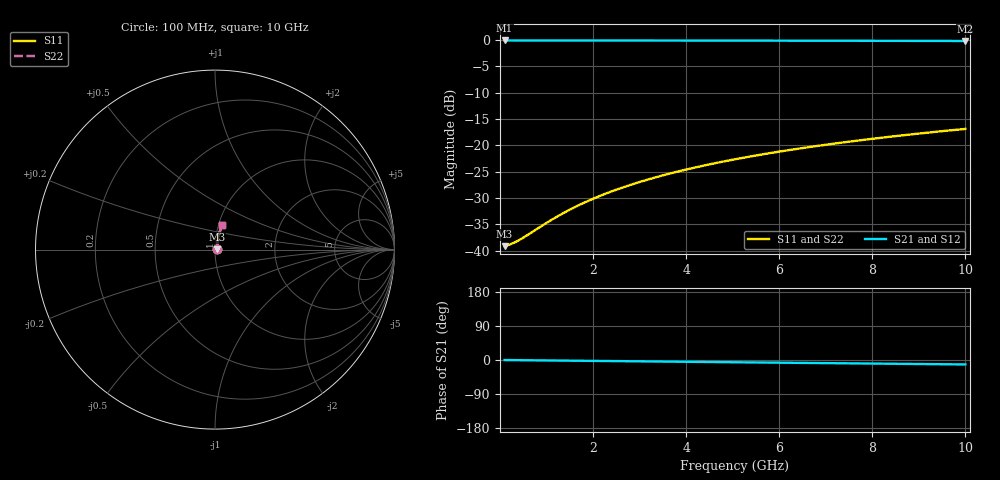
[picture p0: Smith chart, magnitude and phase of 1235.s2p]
# Hz S RI R 50.00
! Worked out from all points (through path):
!   100 points, 100 MHz to 10 GHz, reference 50 ohm
!   highest |S21| = -0.10 dB at 100 MHz (marker M1); lowest = -0.2 dB at 10 GHz (marker M2)
!   group delay of S21, straight-line fit = 3.26 ps
!   lowest |S11| = -39.2 dB at 100 MHz (marker M3), VSWR 1.02, Z = 51.1 + j0.145 ohm
!   |S11| at or under -10 dB: start of sweep to end of sweep
!   |S22| runs from -39.2 to -16.9 dB; largest |S21 - S12| = 0
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1e8  0.0109 0.00142  0.9891 -0.00204  0.9891 -0.00204  0.0109 0.00142
2e8  0.011 0.00285  0.989 -0.00407  0.989 -0.00407  0.011 0.00285
3e8  0.0111 0.00427  0.9889 -0.00611  0.9889 -0.00611  0.0111 0.00427
4e8  0.0111 0.00569  0.9889 -0.00814  0.9889 -0.00814  0.0111 0.00569
5e8  0.0112 0.00711  0.9888 -0.0102  0.9888 -0.0102  0.0112 0.00711
1e9  0.0116 0.0142  0.9884 -0.0203  0.9884 -0.0203  0.0116 0.0142
1.2e9  0.0117 0.0171  0.9882 -0.0244  0.9882 -0.0244  0.0117 0.0171
1.5e9  0.012 0.0213  0.9879 -0.0305  0.9879 -0.0305  0.012 0.0213
1.8e9  0.0123 0.0256  0.9876 -0.0366  0.9876 -0.0366  0.0123 0.0256
2.1e9  0.0127 0.0298  0.9872 -0.0427  0.9872 -0.0427  0.0127 0.0298
2.5e9  0.0133 0.0355  0.9865 -0.0508  0.9865 -0.0508  0.0133 0.0355
2.9e9  0.014 0.0411  0.9858 -0.0589  0.9858 -0.0589  0.014 0.0411
3.4e9  0.015 0.0481  0.9848 -0.069  0.9848 -0.069  0.015 0.0481
3.8e9  0.0158 0.0537  0.9839 -0.077  0.9839 -0.077  0.0158 0.0537
4.2e9  0.0168 0.0593  0.9828 -0.0851  0.9828 -0.0851  0.0168 0.0593
4.6e9  0.0179 0.0649  0.9817 -0.0931  0.9817 -0.0931  0.0179 0.0649
5.1e9  0.0193 0.0718  0.9802 -0.1031  0.9802 -0.1031  0.0193 0.0718
5.9e9  0.0219 0.0828  0.9774 -0.119  0.9774 -0.119  0.0219 0.0828
6.7e9  0.0249 0.0937  0.9743 -0.1348  0.9743 -0.1348  0.0249 0.0937
7.5e9  0.0282 0.1045  0.9707 -0.1505  0.9707 -0.1505  0.0282 0.1045
8.4e9  0.0323 0.1164  0.9663 -0.168  0.9663 -0.168  0.0323 0.1164
1e10  0.0406 0.1372  0.9574 -0.1986  0.9574 -0.1986  0.0406 0.1372
